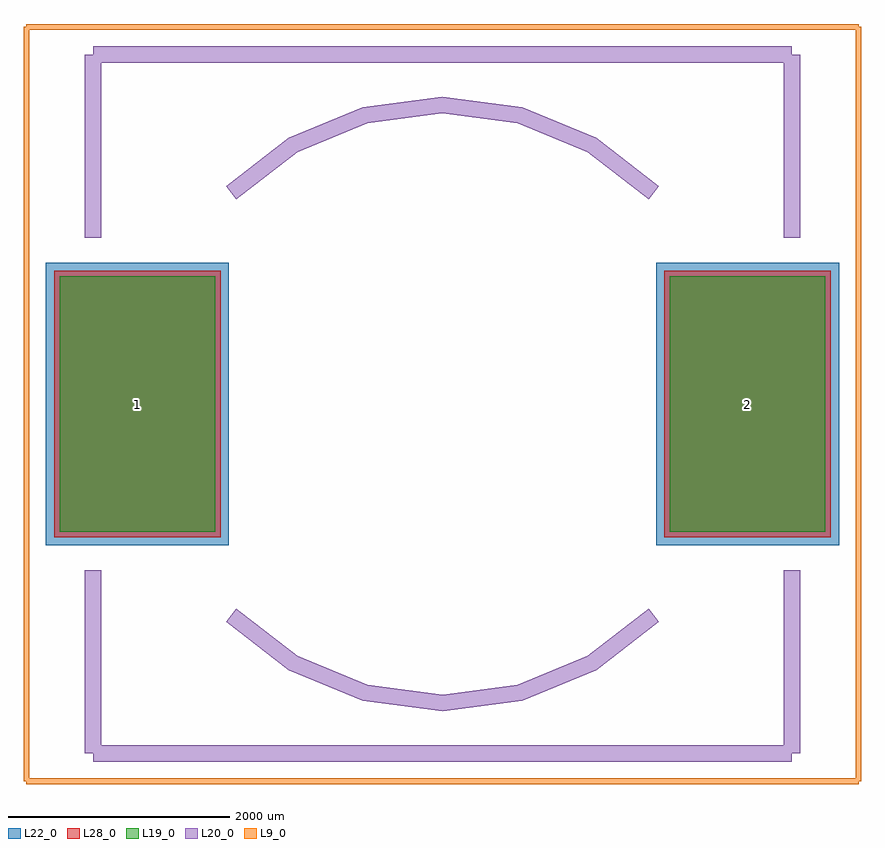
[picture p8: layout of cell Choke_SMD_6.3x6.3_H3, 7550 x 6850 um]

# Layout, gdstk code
import gdstk
lib = gdstk.Library(unit=1e-6, precision=1e-09)
def R(c, l, rs):  # rectangles x0, y0, x1, y1
    for r in rs: c.add(gdstk.rectangle(r[:2], r[2:], *l))
L9_0 = (9, 0)
L19_0 = (19, 0)
L20_0 = (20, 0)
L22_0 = (22, 0)
L28_0 = (28, 0)

choke_smd_6_3x6_3_h3 = lib.new_cell('Choke_SMD_6.3x6.3_H3')
R(choke_smd_6_3x6_3_h3, L19_0, [(-3450,-1150,-2050,1150), (2050,-1150,3450,1150)])
R(choke_smd_6_3x6_3_h3, L22_0, [(-3575,-1275,-1925,1275), (1925,-1275,3575,1275)])
R(choke_smd_6_3x6_3_h3, L28_0, [(-3500,-1200,-2000,1200), (2000,-1200,3500,1200)])
choke_smd_6_3x6_3_h3.add(gdstk.FlexPath([(-3150,-3150),(3150,-3150)], 149.998, ends="flush", simple_path=True, layer=20, datatype=0))  # L20_0
choke_smd_6_3x6_3_h3.add(gdstk.FlexPath([(-3150,3150),(3150,3150)], 149.998, ends="flush", simple_path=True, layer=20, datatype=0))  # L20_0
choke_smd_6_3x6_3_h3.add(gdstk.FlexPath([(-3150,3150),(-3150,1500)], 149.998, ends="flush", simple_path=True, layer=20, datatype=0))  # L20_0
choke_smd_6_3x6_3_h3.add(gdstk.FlexPath([(-3150,-3150),(-3150,-1500)], 149.998, ends="flush", simple_path=True, layer=20, datatype=0))  # L20_0
choke_smd_6_3x6_3_h3.add(gdstk.FlexPath([(3150,3150),(3150,1500)], 149.998, ends="flush", simple_path=True, layer=20, datatype=0))  # L20_0
choke_smd_6_3x6_3_h3.add(gdstk.FlexPath([(3150,-3150),(3150,-1500)], 149.998, ends="flush", simple_path=True, layer=20, datatype=0))  # L20_0
choke_smd_6_3x6_3_h3.add(gdstk.FlexPath([(-1904.999,-1905),(-1347.038,-2333.139),(-697.278,-2602.278),(0.001,-2694.076),(697.279,-2602.278),(1347.039,-2333.139),(1905,-1905)], 149.998, ends="flush", simple_path=True, layer=20, datatype=0))  # L20_0
choke_smd_6_3x6_3_h3.add(gdstk.FlexPath([(1904.999,1905),(1347.038,2333.139),(697.278,2602.278),(-0.001,2694.076),(-697.279,2602.278),(-1347.039,2333.139),(-1905,1905)], 149.998, ends="flush", simple_path=True, layer=20, datatype=0))  # L20_0
choke_smd_6_3x6_3_h3.add(gdstk.FlexPath([(3750,3400),(-3750,3400)], 50, ends="flush", simple_path=True, layer=9, datatype=0))  # L9_0
choke_smd_6_3x6_3_h3.add(gdstk.FlexPath([(3750,-3400),(3750,3400)], 50, ends="flush", simple_path=True, layer=9, datatype=0))  # L9_0
choke_smd_6_3x6_3_h3.add(gdstk.FlexPath([(-3750,-3400),(3750,-3400)], 50, ends="flush", simple_path=True, layer=9, datatype=0))  # L9_0
choke_smd_6_3x6_3_h3.add(gdstk.FlexPath([(-3750,3400),(-3750,-3400)], 50, ends="flush", simple_path=True, layer=9, datatype=0))  # L9_0
choke_smd_6_3x6_3_h3.add(gdstk.Label('2', (2750,0), layer=28, texttype=0))
choke_smd_6_3x6_3_h3.add(gdstk.Label('1', (-2750,0), layer=28, texttype=0))
choke_smd_6_3x6_3_h3.add(gdstk.Label('type', (0,-4445), layer=9, texttype=0))
choke_smd_6_3x6_3_h3.add(gdstk.Label('devicename', (0,4445), layer=9, texttype=0))

lib.write_gds('Choke_SMD_6.3x6.3_H3.gds')
